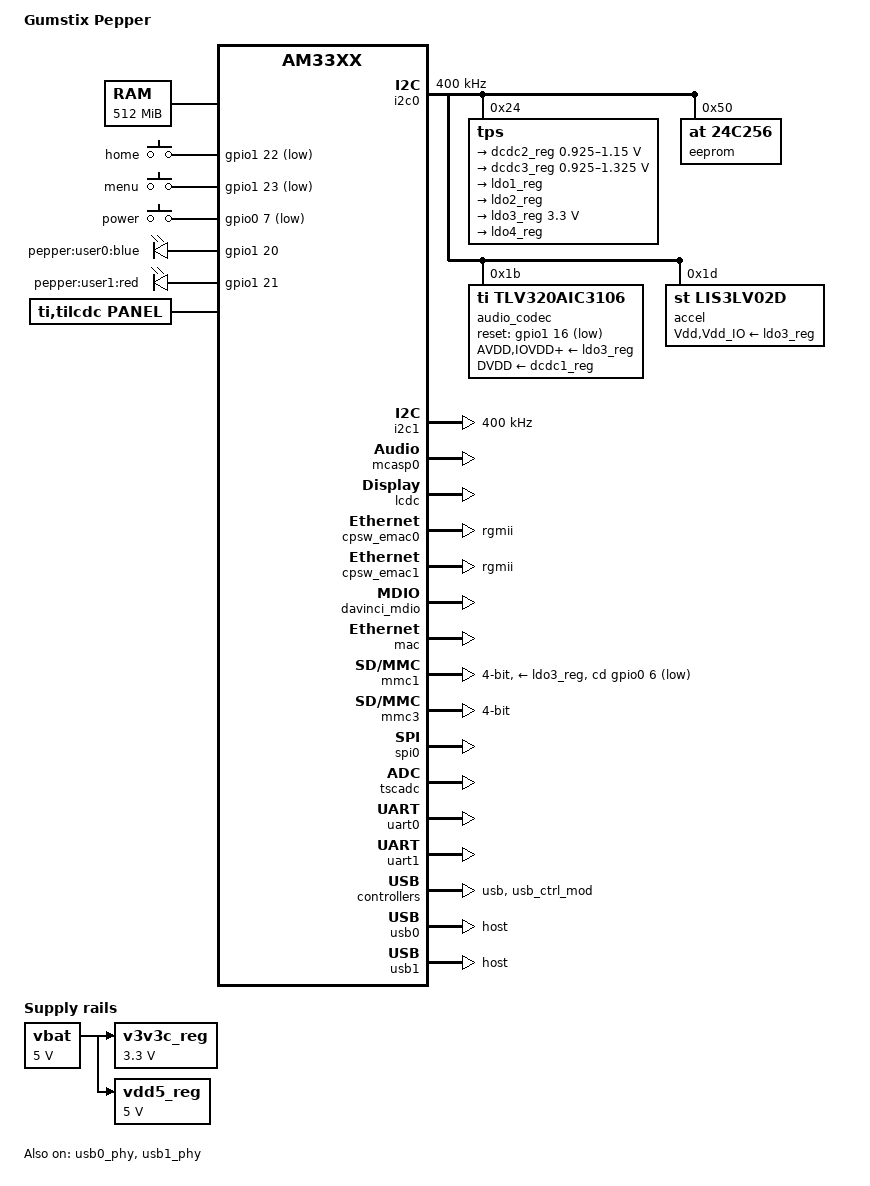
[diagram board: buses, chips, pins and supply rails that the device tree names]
/*
 * Copyright (C) 2014 Gumstix, Inc. - https://www.gumstix.com/
 *
 * This program is free software; you can redistribute it and/or modify
 * it under the terms of the GNU General Public License version 2 as
 * published by the Free Software Foundation.
 */
/dts-v1/;

#include <dt-bindings/input/input.h>
#include "am33xx.dtsi"

/ {
	model = "Gumstix Pepper";
	compatible = "gumstix,am335x-pepper", "ti,am33xx";

	cpus {
		cpu@0 {
			cpu0-supply = <&dcdc3_reg>;
		};
	};

	memory {
		device_type = "memory";
		reg = <0x80000000 0x20000000>; /* 512 MB */
	};

	buttons: user_buttons {
		compatible = "gpio-keys";
	};

	leds: user_leds {
		compatible = "gpio-leds";
	};

	panel: lcd_panel {
		compatible = "ti,tilcdc,panel";
	};

	sound: sound_iface {
		compatible = "ti,da830-evm-audio";
	};

	vbat: fixedregulator@0 {
		compatible = "regulator-fixed";
	};

	v3v3c_reg: fixedregulator@1 {
		compatible = "regulator-fixed";
	};

	vdd5_reg: fixedregulator@2 {
		compatible = "regulator-fixed";
	};
};

/* I2C Busses */
&i2c0 {
	status = "okay";
	pinctrl-names = "default";
	pinctrl-0 = <&i2c0_pins>;

	clock-frequency = <400000>;

	tps: tps@24 {
		reg = <0x24>;
	};

	eeprom: eeprom@50 {
		compatible = "at,24c256";
		reg = <0x50>;
	};

	audio_codec: tlv320aic3106@1b {
		compatible = "ti,tlv320aic3106";
		reg = <0x1b>;
		ai3x-micbias-vg = <0x2>;
	};

	accel: lis331dlh@1d {
		compatible = "st,lis3lv02d";
		reg = <0x1d>;
	};
};

&i2c1 {
	status = "okay";
	pinctrl-names = "default";
	pinctrl-0 = <&i2c1_pins>;
	clock-frequency = <400000>;
};

&am33xx_pinmux {
	i2c0_pins: pinmux_i2c0 {
		pinctrl-single,pins = <
			AM33XX_IOPAD(0x988, PIN_INPUT_PULLUP | MUX_MODE0)	/* i2c0_sda.i2c0_sda */
			AM33XX_IOPAD(0x98c, PIN_INPUT_PULLUP | MUX_MODE0)	/* i2c0_scl.i2c0_scl */
		>;
	};
	i2c1_pins: pinmux_i2c1 {
		pinctrl-single,pins = <
			AM33XX_IOPAD(0x90C, PIN_INPUT_PULLUP | MUX_MODE3)	/* mii1_crs,i2c1_sda */
			AM33XX_IOPAD(0x910, PIN_INPUT_PULLUP | MUX_MODE3)	/* mii1_rxerr,i2c1_scl */
		>;
	};
};

/* Accelerometer */
&accel {
	pinctrl-names = "default";
	pinctrl-0 = <&accel_pins>;

	Vdd-supply = <&ldo3_reg>;
	Vdd_IO-supply = <&ldo3_reg>;
	st,irq1-click;
	st,wakeup-x-lo;
	st,wakeup-x-hi;
	st,wakeup-y-lo;
	st,wakeup-y-hi;
	st,wakeup-z-lo;
	st,wakeup-z-hi;
	st,min-limit-x = <92>;
	st,max-limit-x = <14>;
	st,min-limit-y = <14>;
	st,max-limit-y = <92>;
	st,min-limit-z = <92>;
	st,max-limit-z = <14>;
};

&am33xx_pinmux {
	accel_pins: pinmux_accel {
		pinctrl-single,pins = <
			AM33XX_IOPAD(0x898, PIN_INPUT | MUX_MODE7)   /* gpmc_wen.gpio2_4 */
		>;
	};
};

/* Audio */
&audio_codec {
	status = "okay";

	gpio-reset = <&gpio1 16 GPIO_ACTIVE_LOW>;
	AVDD-supply = <&ldo3_reg>;
	IOVDD-supply = <&ldo3_reg>;
	DRVDD-supply = <&ldo3_reg>;
	DVDD-supply = <&dcdc1_reg>;
};

&sound {
	ti,model = "AM335x-EVM";
	ti,audio-codec = <&audio_codec>;
	ti,mcasp-controller = <&mcasp0>;
	ti,codec-clock-rate = <12000000>;
	ti,audio-routing =
		"Headphone Jack",	"HPLOUT",
		"Headphone Jack",	"HPROUT",
		"MIC3L",		"Mic3L Switch";
};

&mcasp0 {
	status = "okay";
	pinctrl-names = "default";
	pinctrl-0 = <&audio_pins>;

	op-mode = <0>;	/* MCASP_ISS_MODE */
	tdm-slots = <2>;
	serial-dir = <
		1 2 0 0
		0 0 0 0
		0 0 0 0
		0 0 0 0
	>;
	tx-num-evt = <1>;
	rx-num-evt = <1>;
};

&am33xx_pinmux {
	audio_pins: pinmux_audio {
		pinctrl-single,pins = <
			AM33XX_IOPAD(0x9ac, PIN_INPUT_PULLDOWN | MUX_MODE0)	/* mcasp0_ahcklx.mcasp0_ahclkx */
			AM33XX_IOPAD(0x994, PIN_INPUT_PULLDOWN | MUX_MODE0)	/* mcasp0_fsx.mcasp0_fsx */
			AM33XX_IOPAD(0x990, PIN_INPUT_PULLDOWN | MUX_MODE0)	/* mcasp0_aclkx.mcasp0_aclkx */
			AM33XX_IOPAD(0x998, PIN_INPUT_PULLDOWN | MUX_MODE0)	/* mcasp0_axr0.mcasp0_axr0 */
			AM33XX_IOPAD(0x9a8, PIN_INPUT_PULLDOWN | MUX_MODE0)	/* mcasp0_axr1.mcasp0_axr1 */
			AM33XX_IOPAD(0x840, PIN_OUTPUT | MUX_MODE7)	/* gpmc_a0.gpio1_16 */
		>;
	};
};

/* Display: 24-bit LCD Screen */
&panel {
	status = "okay";
	pinctrl-names = "default";
	pinctrl-0 = <&lcd_pins>;
	panel-info {
		ac-bias = <255>;
		ac-bias-intrpt = <0>;
		dma-burst-sz = <16>;
		bpp = <32>;
		fdd = <0x80>;
		sync-edge = <0>;
		sync-ctrl = <1>;
		raster-order = <0>;
		fifo-th = <0>;
	};
	display-timings {
		native-mode = <&timing0>;
		timing0: 480x272 {
			clock-frequency = <18400000>;
			hactive = <480>;
			vactive = <272>;
			hfront-porch = <8>;
			hback-porch = <4>;
			hsync-len = <41>;
			vfront-porch = <4>;
			vback-porch = <2>;
			vsync-len = <10>;
			hsync-active = <1>;
			vsync-active = <1>;
		};
	};
};

&lcdc {
	status = "okay";
};

&am33xx_pinmux {
	lcd_pins: pinmux_lcd {
		pinctrl-single,pins = <
			AM33XX_IOPAD(0x8a0, PIN_OUTPUT | MUX_MODE0)	/* lcd_data0.lcd_data0 */
			AM33XX_IOPAD(0x8a4, PIN_OUTPUT | MUX_MODE0)	/* lcd_data1.lcd_data1 */
			AM33XX_IOPAD(0x8a8, PIN_OUTPUT | MUX_MODE0)	/* lcd_data2.lcd_data2 */
			AM33XX_IOPAD(0x8ac, PIN_OUTPUT | MUX_MODE0)	/* lcd_data3.lcd_data3 */
			AM33XX_IOPAD(0x8b0, PIN_OUTPUT | MUX_MODE0)	/* lcd_data4.lcd_data4 */
			AM33XX_IOPAD(0x8b4, PIN_OUTPUT | MUX_MODE0)	/* lcd_data5.lcd_data5 */
			AM33XX_IOPAD(0x8b8, PIN_OUTPUT | MUX_MODE0)	/* lcd_data6.lcd_data6 */
			AM33XX_IOPAD(0x8bc, PIN_OUTPUT | MUX_MODE0)	/* lcd_data7.lcd_data7 */
			AM33XX_IOPAD(0x8c0, PIN_OUTPUT | MUX_MODE0)	/* lcd_data8.lcd_data8 */
			AM33XX_IOPAD(0x8c4, PIN_OUTPUT | MUX_MODE0)	/* lcd_data9.lcd_data9 */
			AM33XX_IOPAD(0x8c8, PIN_OUTPUT | MUX_MODE0)	/* lcd_data10.lcd_data10 */
			AM33XX_IOPAD(0x8cc, PIN_OUTPUT | MUX_MODE0)	/* lcd_data11.lcd_data11 */
			AM33XX_IOPAD(0x8d0, PIN_OUTPUT | MUX_MODE0)	/* lcd_data12.lcd_data12 */
			AM33XX_IOPAD(0x8d4, PIN_OUTPUT | MUX_MODE0)	/* lcd_data13.lcd_data13 */
			AM33XX_IOPAD(0x8d8, PIN_OUTPUT | MUX_MODE0)	/* lcd_data14.lcd_data14 */
			AM33XX_IOPAD(0x8dc, PIN_OUTPUT | MUX_MODE0)	/* lcd_data15.lcd_data15 */
			AM33XX_IOPAD(0x820, PIN_OUTPUT | MUX_MODE1)	/* gpmc_ad8.lcd_data16 */
			AM33XX_IOPAD(0x824, PIN_OUTPUT | MUX_MODE1)	/* gpmc_ad9.lcd_data17 */
			AM33XX_IOPAD(0x828, PIN_OUTPUT | MUX_MODE1)	/* gpmc_ad10.lcd_data18 */
			AM33XX_IOPAD(0x82c, PIN_OUTPUT | MUX_MODE1)	/* gpmc_ad11.lcd_data19 */
			AM33XX_IOPAD(0x830, PIN_OUTPUT | MUX_MODE1)	/* gpmc_ad12.lcd_data20 */
			AM33XX_IOPAD(0x834, PIN_OUTPUT | MUX_MODE1)	/* gpmc_ad13.lcd_data21 */
			AM33XX_IOPAD(0x838, PIN_OUTPUT | MUX_MODE1)	/* gpmc_ad14.lcd_data22 */
			AM33XX_IOPAD(0x83c, PIN_OUTPUT | MUX_MODE1)	/* gpmc_ad15.lcd_data23 */
			AM33XX_IOPAD(0x8e0, PIN_OUTPUT | MUX_MODE0)	/* lcd_vsync.lcd_vsync */
			AM33XX_IOPAD(0x8e4, PIN_OUTPUT | MUX_MODE0)	/* lcd_hsync.lcd_hsync */
			AM33XX_IOPAD(0x8e8, PIN_OUTPUT | MUX_MODE0)	/* lcd_pclk.lcd_pclk */
			AM33XX_IOPAD(0x8ec, PIN_OUTPUT | MUX_MODE0)	/* lcd_ac_bias_en.lcd_ac_bias_en */
			/* Display Enable */
			AM33XX_IOPAD(0x86c, PIN_OUTPUT_PULLUP | MUX_MODE7)	/* gpmc_a11.gpio1_27 */
		>;
	};
};

/* Ethernet */
&cpsw_emac0 {
	status = "okay";
	phy_id = <&davinci_mdio>, <0>;
	phy-mode = "rgmii";
};

&cpsw_emac1 {
	status = "okay";
	phy_id = <&davinci_mdio>, <1>;
	phy-mode = "rgmii";
};

&davinci_mdio {
	status = "okay";
	pinctrl-names = "default";
	pinctrl-0 = <&mdio_pins>;
};

&mac {
	status = "okay";
	pinctrl-names = "default";
	pinctrl-0 = <&ethernet_pins>;
};


&am33xx_pinmux {
	ethernet_pins: pinmux_ethernet {
		pinctrl-single,pins = <
			AM33XX_IOPAD(0x914, PIN_OUTPUT_PULLDOWN | MUX_MODE2)	/* mii1_txen.rgmii1_tctl */
			AM33XX_IOPAD(0x918, PIN_INPUT_PULLUP | MUX_MODE2)	/* mii1_rxdv.rgmii1_rctl */
			AM33XX_IOPAD(0x91c, PIN_OUTPUT_PULLDOWN | MUX_MODE2)	/* mii1_txd3.rgmii1_td3 */
			AM33XX_IOPAD(0x920, PIN_OUTPUT_PULLDOWN | MUX_MODE2)	/* mii1_txd2.rgmii1_td2 */
			AM33XX_IOPAD(0x924, PIN_OUTPUT_PULLDOWN | MUX_MODE2)	/* mii1_txd1.rgmii1_td1 */
			AM33XX_IOPAD(0x928, PIN_OUTPUT_PULLDOWN | MUX_MODE2)	/* mii1_txd0.rgmii1_td0 */
			AM33XX_IOPAD(0x92c, PIN_INPUT_PULLUP | MUX_MODE2)	/* mii1_txclk.rgmii1_tclk */
			AM33XX_IOPAD(0x930, PIN_INPUT_PULLUP | MUX_MODE2)	/* mii1_rxclk.rgmii1_rclk */
			AM33XX_IOPAD(0x934, PIN_INPUT_PULLUP | MUX_MODE2)	/* mii1_rxd3.rgmii1_rxd3 */
			AM33XX_IOPAD(0x938, PIN_INPUT_PULLUP | MUX_MODE2)	/* mii1_rxd2.rgmii1_rxd2 */
			AM33XX_IOPAD(0x93c, PIN_INPUT_PULLUP | MUX_MODE2)	/* mii1_rxd1.rgmii1_rxd1 */
			AM33XX_IOPAD(0x940, PIN_INPUT_PULLUP | MUX_MODE2)	/* mii1_rxd0.rgmii1_rxd0 */
			/* ethernet interrupt */
			AM33XX_IOPAD(0x944, PIN_INPUT_PULLUP | MUX_MODE7)	/* rmii2_refclk.gpio0_29 */
			/* ethernet PHY nReset */
			AM33XX_IOPAD(0x908, PIN_OUTPUT_PULLUP | MUX_MODE7)	/* mii1_col.gpio3_0 */
		>;
	};

	mdio_pins: pinmux_mdio {
		pinctrl-single,pins = <
			AM33XX_IOPAD(0x948, PIN_INPUT_PULLUP | SLEWCTRL_FAST | MUX_MODE0)	/* mdio_data.mdio_data */
			AM33XX_IOPAD(0x94c, PIN_OUTPUT_PULLUP | MUX_MODE0)			/* mdio_clk.mdio_clk */
		>;
	};
};

/* MMC */
&mmc1 {
	/* Bootable SD card slot */
	status = "okay";
	vmmc-supply = <&ldo3_reg>;
	bus-width = <4>;
	pinctrl-names = "default";
	pinctrl-0 = <&sd_pins>;
	cd-gpios = <&gpio0 6 GPIO_ACTIVE_LOW>;
};

&mmc2 {
	/* eMMC (not populated) on MMC #2 */
	status = "disabled";
	pinctrl-names = "default";
	pinctrl-0 = <&emmc_pins>;
	vmmc-supply = <&ldo3_reg>;
	bus-width = <8>;
	ti,non-removable;
};

&mmc3 {
	/* Wifi & Bluetooth on MMC #3 */
	status = "okay";
	pinctrl-names = "default";
	pinctrl-0 = <&wireless_pins>;
	vmmmc-supply = <&v3v3c_reg>;
	bus-width = <4>;
	ti,non-removable;
	dmas = <&edma_xbar 12 0 1
		&edma_xbar 13 0 2>;
	dma-names = "tx", "rx";
};


&am33xx_pinmux {
	sd_pins: pinmux_sd_card {
		pinctrl-single,pins = <
			AM33XX_IOPAD(0x8f0, PIN_INPUT_PULLUP | MUX_MODE0)	/* mmc0_dat0.mmc0_dat0 */
			AM33XX_IOPAD(0x8f4, PIN_INPUT_PULLUP | MUX_MODE0)	/* mmc0_dat1.mmc0_dat1 */
			AM33XX_IOPAD(0x8f8, PIN_INPUT_PULLUP | MUX_MODE0)	/* mmc0_dat2.mmc0_dat2 */
			AM33XX_IOPAD(0x8fc, PIN_INPUT_PULLUP | MUX_MODE0)	/* mmc0_dat3.mmc0_dat3 */
			AM33XX_IOPAD(0x900, PIN_INPUT_PULLUP | MUX_MODE0)	/* mmc0_clk.mmc0_clk */
			AM33XX_IOPAD(0x904, PIN_INPUT_PULLUP | MUX_MODE0)	/* mmc0_cmd.mmc0_cmd */
			AM33XX_IOPAD(0x960, PIN_INPUT | MUX_MODE7)		/* spi0_cs1.gpio0_6 */
		>;
	};
	emmc_pins: pinmux_emmc {
		pinctrl-single,pins = <
			AM33XX_IOPAD(0x880, PIN_INPUT_PULLUP | MUX_MODE2)	/* gpmc_csn1.mmc1_clk */
			AM33XX_IOPAD(0x884, PIN_INPUT_PULLUP | MUX_MODE2)	/* gpmc_csn2.mmc1_cmd */
			AM33XX_IOPAD(0x800, PIN_INPUT_PULLUP | MUX_MODE1)	/* gpmc_ad0.mmc1_dat0 */
			AM33XX_IOPAD(0x804, PIN_INPUT_PULLUP | MUX_MODE1)	/* gpmc_ad1.mmc1_dat1 */
			AM33XX_IOPAD(0x808, PIN_INPUT_PULLUP | MUX_MODE1)	/* gpmc_ad2.mmc1_dat2 */
			AM33XX_IOPAD(0x80c, PIN_INPUT_PULLUP | MUX_MODE1)	/* gpmc_ad3.mmc1_dat3 */
			AM33XX_IOPAD(0x810, PIN_INPUT_PULLUP | MUX_MODE1)	/* gpmc_ad4.mmc1_dat4 */
			AM33XX_IOPAD(0x814, PIN_INPUT_PULLUP | MUX_MODE1)	/* gpmc_ad5.mmc1_dat5 */
			AM33XX_IOPAD(0x818, PIN_INPUT_PULLUP | MUX_MODE1)	/* gpmc_ad6.mmc1_dat6 */
			AM33XX_IOPAD(0x81c, PIN_INPUT_PULLUP | MUX_MODE1)	/* gpmc_ad7.mmc1_dat7 */
			/* EMMC nReset */
			AM33XX_IOPAD(0x874, PIN_OUTPUT_PULLUP | MUX_MODE7)	/* gpmc_wpn.gpio0_31 */
		>;
	};
	wireless_pins: pinmux_wireless {
		pinctrl-single,pins = <
			AM33XX_IOPAD(0x844, PIN_INPUT_PULLUP | MUX_MODE3)	/* gpmc_a1.mmc2_dat0 */
			AM33XX_IOPAD(0x848, PIN_INPUT_PULLUP | MUX_MODE3)	/* gpmc_a2.mmc2_dat1 */
			AM33XX_IOPAD(0x84c, PIN_INPUT_PULLUP | MUX_MODE3)	/* gpmc_a3.mmc2_dat2 */
			AM33XX_IOPAD(0x878, PIN_INPUT_PULLUP | MUX_MODE3)	/* gpmc_ben1.mmc2_dat3 */
			AM33XX_IOPAD(0x888, PIN_INPUT_PULLUP | MUX_MODE3)	/* gpmc_csn3.mmc2_cmd */
			AM33XX_IOPAD(0x88c, PIN_INPUT_PULLUP | MUX_MODE3)	/* gpmc_clk.mmc1_clk */
			/* WLAN nReset */
			AM33XX_IOPAD(0x860, PIN_OUTPUT_PULLUP | MUX_MODE7)	/* gpmc_a8.gpio1_24 */
			/* WLAN nPower down */
			AM33XX_IOPAD(0x870, PIN_OUTPUT_PULLUP | MUX_MODE7)	/* gpmc_wait0.gpio0_30 */
			/* 32kHz Clock */
			AM33XX_IOPAD(0x9b4, PIN_OUTPUT_PULLDOWN | MUX_MODE3)	/* xdma_event_intr1.clkout2 */
		>;
	};
};

/* Power */
&vbat {
	regulator-name = "vbat";
	regulator-min-microvolt = <5000000>;
	regulator-max-microvolt = <5000000>;
};

&v3v3c_reg {
	regulator-name = "v3v3c_reg";
	regulator-min-microvolt = <3300000>;
	regulator-max-microvolt = <3300000>;
	vin-supply = <&vbat>;
};

&vdd5_reg {
	regulator-name = "vdd5_reg";
	regulator-min-microvolt = <5000000>;
	regulator-max-microvolt = <5000000>;
	vin-supply = <&vbat>;
};

/include/ "tps65217.dtsi"

&tps {
	backlight {
		isel = <1>; /* ISET1 */
		fdim = <200>; /* TPS65217_BL_FDIM_200HZ */
		default-brightness = <80>;
	};

	regulators {
		dcdc1_reg: regulator@0 {
			/* VDD_1V8 system supply */
			regulator-always-on;
		};

		dcdc2_reg: regulator@1 {
			/* VDD_CORE voltage limits 0.95V - 1.26V with +/-4% tolerance */
			regulator-name = "vdd_core";
			regulator-min-microvolt = <925000>;
			regulator-max-microvolt = <1150000>;
			regulator-boot-on;
			regulator-always-on;
		};

		dcdc3_reg: regulator@2 {
			/* VDD_MPU voltage limits 0.95V - 1.1V with +/-4% tolerance */
			regulator-name = "vdd_mpu";
			regulator-min-microvolt = <925000>;
			regulator-max-microvolt = <1325000>;
			regulator-boot-on;
			regulator-always-on;
		};

		ldo1_reg: regulator@3 {
			/* VRTC 1.8V always-on supply */
			regulator-name = "vrtc,vdds";
			regulator-always-on;
		};

		ldo2_reg: regulator@4 {
			/* 3.3V rail */
			regulator-name = "vdd_3v3aux";
			regulator-always-on;
		};

		ldo3_reg: regulator@5 {
			/* VDD_3V3A 3.3V rail */
			regulator-name = "vdd_3v3a";
			regulator-min-microvolt = <3300000>;
			regulator-max-microvolt = <3300000>;
		};

		ldo4_reg: regulator@6 {
			/* VDD_3V3B 3.3V rail */
			regulator-name = "vdd_3v3b";
			regulator-always-on;
		};
	};
};

/* SPI Busses */
&spi0 {
	status = "okay";
	pinctrl-names = "default";
	pinctrl-0 = <&spi0_pins>;
};

&am33xx_pinmux {
	spi0_pins: pinmux_spi0 {
		pinctrl-single,pins = <
			AM33XX_IOPAD(0x950, PIN_INPUT_PULLUP | MUX_MODE0) /* spi0_sclk.spi0_sclk */
			AM33XX_IOPAD(0x95C, PIN_INPUT_PULLUP | MUX_MODE0) /* spi0_cs0.spi0_cs0 */
			AM33XX_IOPAD(0x954, PIN_INPUT_PULLUP | MUX_MODE0) /* spi0_d0.spi0_d0 */
			AM33XX_IOPAD(0x958, PIN_INPUT_PULLUP | MUX_MODE0) /* spi0_d1.spi0_d1 */
		>;
	};
};

/* Touch Screen */
&tscadc {
	status = "okay";
	tsc {
		ti,wires = <4>;
		ti,x-plate-resistance = <200>;
		ti,coordinate-readouts = <5>;
		ti,wire-config = <0x00 0x11 0x22 0x33>;
	};

	adc {
		ti,adc-channels = <4 5 6 7>;
	};
};

/* UARTs */
&uart0 {
	/* Serial Console */
	status = "okay";
	pinctrl-names = "default";
	pinctrl-0 = <&uart0_pins>;
};

&uart1 {
	/* Broken out to J6 header */
	status = "okay";
	pinctrl-names = "default";
	pinctrl-0 = <&uart1_pins>;
};

&am33xx_pinmux {
	uart0_pins: pinmux_uart0 {
		pinctrl-single,pins = <
			AM33XX_IOPAD(0x970, PIN_INPUT_PULLUP | MUX_MODE0)	/* uart0_rxd.uart0_rxd */
			AM33XX_IOPAD(0x974, PIN_OUTPUT_PULLDOWN | MUX_MODE0)	/* uart0_txd.uart0_txd */
		>;
	};
	uart1_pins: pinmux_uart1 {
		pinctrl-single,pins = <
			AM33XX_IOPAD(0x978, PIN_INPUT_PULLUP | MUX_MODE0)	/* uart1_ctsn.uart1_ctsn */
			AM33XX_IOPAD(0x97C, PIN_OUTPUT_PULLDOWN | MUX_MODE0)	/* uart1_rtsn.uart1_rtsn */
			AM33XX_IOPAD(0x980, PIN_INPUT_PULLUP | MUX_MODE0)	/* uart1_rxd.uart1_rxd */
			AM33XX_IOPAD(0x984, PIN_OUTPUT_PULLDOWN | MUX_MODE0)	/* uart1_txd.uart1_txd */
		>;
	};
};

/* USB */
&usb {
	status = "okay";

	pinctrl-names = "default";
	pinctrl-0 = <&usb_pins>;
};

&usb_ctrl_mod {
	status = "okay";
};

&usb0_phy {
	status = "okay";
};

&usb1_phy {
	status = "okay";
};

&usb0 {
	status = "okay";
        dr_mode = "host";
};

&usb1 {
	status = "okay";
        dr_mode = "host";
};

&cppi41dma {
	status = "okay";
};

&am33xx_pinmux {
	usb_pins: pinmux_usb {
		pinctrl-single,pins = <
			/* USB0 Over-Current (active low) */
			AM33XX_IOPAD(0x864, PIN_INPUT | MUX_MODE7)	/* gpmc_a9.gpio1_25 */
			/* USB1 Over-Current (active low) */
			AM33XX_IOPAD(0x868, PIN_INPUT | MUX_MODE7)	/* gpmc_a10.gpio1_26 */
		>;
	};
};

/* User IO */
&leds {
	pinctrl-names = "default";
	pinctrl-0 = <&user_leds_pins>;

	led@0 {
		label = "pepper:user0:blue";
		gpios = <&gpio1 20 GPIO_ACTIVE_HIGH>;
		linux,default-trigger = "none";
		default-state = "off";
	};

	led@1 {
		label = "pepper:user1:red";
		gpios = <&gpio1 21 GPIO_ACTIVE_HIGH>;
		linux,default-trigger = "none";
		default-state = "off";
	};
};

&buttons {
	pinctrl-names = "default";
	pinctrl-0 = <&user_buttons_pins>;
	#address-cells = <1>;
	#size-cells = <0>;

	button@0 {
		label = "home";
		linux,code = <KEY_HOME>;
		gpios = <&gpio1 22 GPIO_ACTIVE_LOW>;
		wakeup-source;
	};

	button@1 {
		label = "menu";
		linux,code = <KEY_MENU>;
		gpios = <&gpio1 23 GPIO_ACTIVE_LOW>;
		wakeup-source;
	};

	buttons@2 {
		label = "power";
		linux,code = <KEY_POWER>;
		gpios = <&gpio0 7 GPIO_ACTIVE_LOW>;
		wakeup-source;
	};
};

&am33xx_pinmux {
	user_leds_pins: pinmux_user_leds {
		pinctrl-single,pins = <
			AM33XX_IOPAD(0x850, PIN_OUTPUT | MUX_MODE7)	/* gpmc_a4.gpio1_20 */
			AM33XX_IOPAD(0x854, PIN_OUTPUT | MUX_MODE7)	/* gpmc_a5.gpio1_21 */
		>;
	};

	user_buttons_pins: pinmux_user_buttons {
		pinctrl-single,pins = <
			AM33XX_IOPAD(0x858, PIN_INPUT_PULLUP | MUX_MODE7)	/* gpmc_a6.gpio1_22 */
			AM33XX_IOPAD(0x85C, PIN_INPUT_PULLUP | MUX_MODE7)	/* gpmc_a7.gpio1_21 */
			AM33XX_IOPAD(0x964, PIN_INPUT_PULLUP | MUX_MODE7)	/* gpmc_a8.gpio0_7 */
		>;
	};
};
